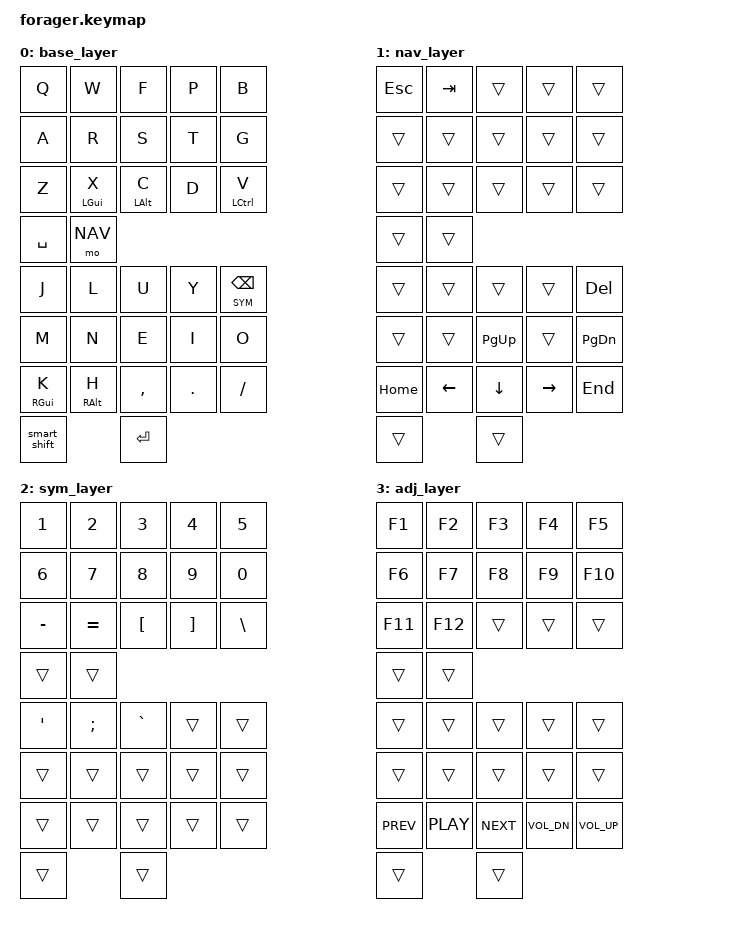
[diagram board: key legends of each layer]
/ {
    #include <behaviors.dtsi>
    #include <dt-bindings/zmk/keys.h>

    /* Layer indices */
    #define BASE 0
    #define NAV 1
    #define SYM 2
    #define ADJ 3

    behaviors {
        lhm: lhm {
            compatible = "zmk,behavior-hold-tap";
            #binding-cells = <2>;
            flavor = "balanced";
            tapping-term-ms = <280>;
            quick-tap-ms = <175>;
            require-prior-idle-ms = <150>;
            bindings = <&kp>, <&kp>;
            hold-trigger-key-positions = <15 16 17 18 19 20 21 22 23 24 25 26 27 28 29 30 31 32 33>;
            hold-trigger-on-release;
            label = "LHM";
        };

        rhm: rhm {
            compatible = "zmk,behavior-hold-tap";
            #binding-cells = <2>;
            flavor = "balanced";
            tapping-term-ms = <280>;
            quick-tap-ms = <175>;
            require-prior-idle-ms = <150>;
            bindings = <&kp>, <&kp>;
            hold-trigger-key-positions = <0 1 2 3 4 5 6 7 8 9 10 11 12 13 14 15 16 32 33>;
            hold-trigger-on-release;
            label = "RHM";
        };

        smart_shift: smart_shift {
            compatible = "zmk,behavior-tap-dance";
            #binding-cells = <0>;
            tapping-term-ms = <300>;
            bindings = <&mt LSHIFT &sk LSHIFT>, <&caps_word>;
            label = "SMART_SHIFT";
        };

        sym_bspc: sym_bspc {
            compatible = "zmk,behavior-hold-tap";
            #binding-cells = <2>;
            flavor = "hold-preferred";
            bindings = <&mo>, <&kp>;
            label = "SYM_BSPC";
        };
    };

    keymap {
        compatible = "zmk,keymap";

        base_layer {
            bindings = <
                /* Left half */
                &kp Q       &kp W       &kp F        &kp P        &kp B               /* 0-4 */
                &kp A       &kp R       &kp S        &kp T        &kp G               /* 5-9 */
                &kp Z       &lhm LGUI X &lhm LALT C  &kp D        &lhm LCTRL V        /* 10-14 */
                &kp SPACE   &mo NAV                                                 /* 15-16 (thumbs: Space, Nav) */

                /* Right half */
                &kp J       &kp L       &kp U        &kp Y        &sym_bspc SYM BSPC  /* 17-21 */
                &kp M       &kp N       &kp E        &kp I        &kp O               /* 22-26 */
                &rhm RGUI K &rhm RALT H &kp COMMA    &kp PERIOD   &kp SLASH           /* 27-31 */
                &smart_shift        &kp ENTER                                       /* 32-33 (thumbs: Smart Shift, Enter) */
            >;
        };

        nav_layer {
            bindings = <
                /* Left half (mostly transparent, with ESC/TAB) */
                &kp ESC     &kp TAB    &trans       &trans       &trans              /* 0-4 */
                &trans      &trans     &trans       &trans       &trans              /* 5-9 */
                &trans      &trans     &trans       &trans       &trans              /* 10-14 */
                &trans      &trans                                                      /* 15-16 (thumbs) */

                /* Right half (navigation cluster and edits) */
                &trans      &trans     &trans       &trans       &kp DEL             /* 17-21 */
                &trans      &trans     &kp PG_UP    &trans       &kp PG_DN           /* 22-26 */
                &kp HOME    &kp LEFT   &kp DOWN     &kp RIGHT    &kp END             /* 27-31 */
                &trans              &trans                                        /* 32-33 (thumbs) */
            >;
        };

        sym_layer {
            bindings = <
                /* Left half (numbers and symbols) */
                &kp 1       &kp 2       &kp 3       &kp 4       &kp 5               /* 0-4 */
                &kp 6       &kp 7       &kp 8       &kp 9       &kp 0               /* 5-9 */
                &kp MINUS   &kp EQUAL   &kp LEFT_BRACKET  &kp RIGHT_BRACKET  &kp BACKSLASH   /* 10-14 */
                &trans      &trans                                                      /* 15-16 (thumbs) */

                /* Right half (punctuation) */
                &kp SINGLE_QUOTE  &kp SEMICOLON  &kp GRAVE   &trans      &trans      /* 17-21 */
                &trans            &trans         &trans      &trans      &trans      /* 22-26 */
                &trans            &trans         &trans      &trans      &trans      /* 27-31 */
                &trans                  &trans                                        /* 32-33 (thumbs) */
            >;
        };

        adj_layer {
            bindings = <
                /* Left half (function keys F1-F12) */
                &kp F1      &kp F2      &kp F3      &kp F4      &kp F5              /* 0-4 */
                &kp F6      &kp F7      &kp F8      &kp F9      &kp F10             /* 5-9 */
                &kp F11     &kp F12     &trans      &trans      &trans              /* 10-14 */
                &trans      &trans                                                      /* 15-16 (thumbs) */

                /* Right half (media keys and transparent otherwise) */
                &trans      &trans      &trans      &trans      &trans              /* 17-21 */
                &trans      &trans      &trans      &trans      &trans              /* 22-26 */
                &kp C_PREV  &kp C_PLAY  &kp C_NEXT  &kp C_VOL_DN  &kp C_VOL_UP      /* 27-31 */
                &trans                &trans                                        /* 32-33 (thumbs) */
            >;
        };
    };
};
